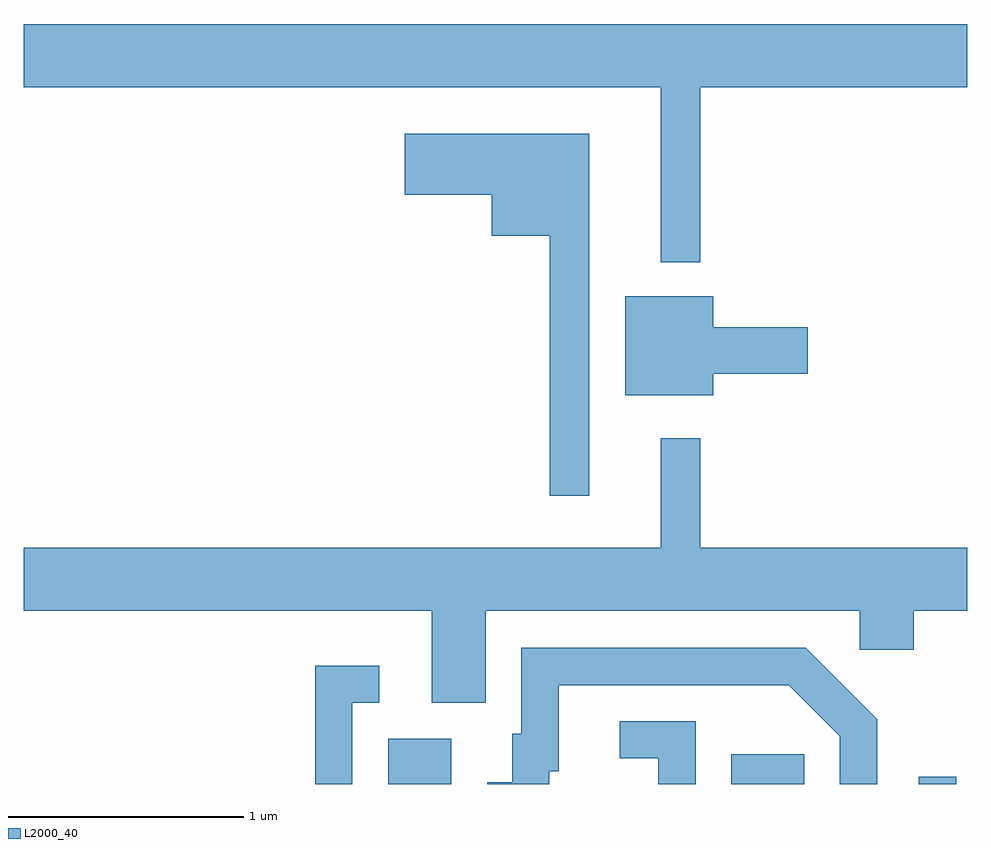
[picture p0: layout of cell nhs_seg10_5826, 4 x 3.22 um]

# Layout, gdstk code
import gdstk
lib = gdstk.Library(unit=1e-6, precision=1e-09)
def R(c, l, rs):  # rectangles x0, y0, x1, y1
    for r in rs: c.add(gdstk.rectangle(r[:2], r[2:], *l))
def P(c, l, *ps):  # polygons
    for p in ps: c.add(gdstk.Polygon(p, *l))
L2000_40 = (2000, 40)

nhs_seg10_5826 = lib.new_cell('nhs_seg10_5826')
R(nhs_seg10_5826, L2000_40, [(359.156,2106.522,359.424,2106.714), (360.611,2106.522,360.919,2106.649), (361.406,2106.522,361.564,2106.553)])
P(nhs_seg10_5826, L2000_40, [(360.479,2109.476),(361.611,2109.476),(361.611,2109.744),(357.611,2109.744),(357.611,2109.476),(360.311,2109.476),(360.311,2108.733),(360.479,2108.733)],
  [(360.009,2109.279),(359.226,2109.279),(359.226,2109.021),(359.596,2109.021),(359.596,2108.846),(359.841,2108.846),(359.841,2107.743),(360.009,2107.743)],
  [(360.534,2108.261),(360.934,2108.261),(360.934,2108.459),(360.534,2108.459),(360.534,2108.589),(360.161,2108.589),(360.161,2108.171),(360.534,2108.171)],
  [(359.569,2107.256),(361.156,2107.256),(361.156,2107.091),(361.384,2107.091),(361.384,2107.256),(361.611,2107.256),(361.611,2107.524),(360.479,2107.524),(360.479,2107.988),(360.311,2107.988),(360.311,2107.524),(357.611,2107.524),(357.611,2107.256),(359.341,2107.256),(359.341,2106.866),(359.569,2106.866)],
  [(359.839,2106.576),(359.879,2106.576),(359.879,2106.941),(360.854,2106.941),(361.071,2106.724),(361.071,2106.522),(361.229,2106.522),(361.229,2106.797),(360.927,2107.099),(359.721,2107.099),(359.721,2106.734),(359.681,2106.734),(359.681,2106.529),(359.576,2106.529),(359.576,2106.522),(359.839,2106.522)],
  [(359.004,2106.866),(359.118,2106.866),(359.118,2107.024),(358.846,2107.024),(358.846,2106.522),(359.004,2106.522)],
  [(360.459,2106.789),(360.138,2106.789),(360.138,2106.631),(360.301,2106.631),(360.301,2106.522),(360.459,2106.522)])

lib.write_gds('nhs_seg10_5826.gds')
